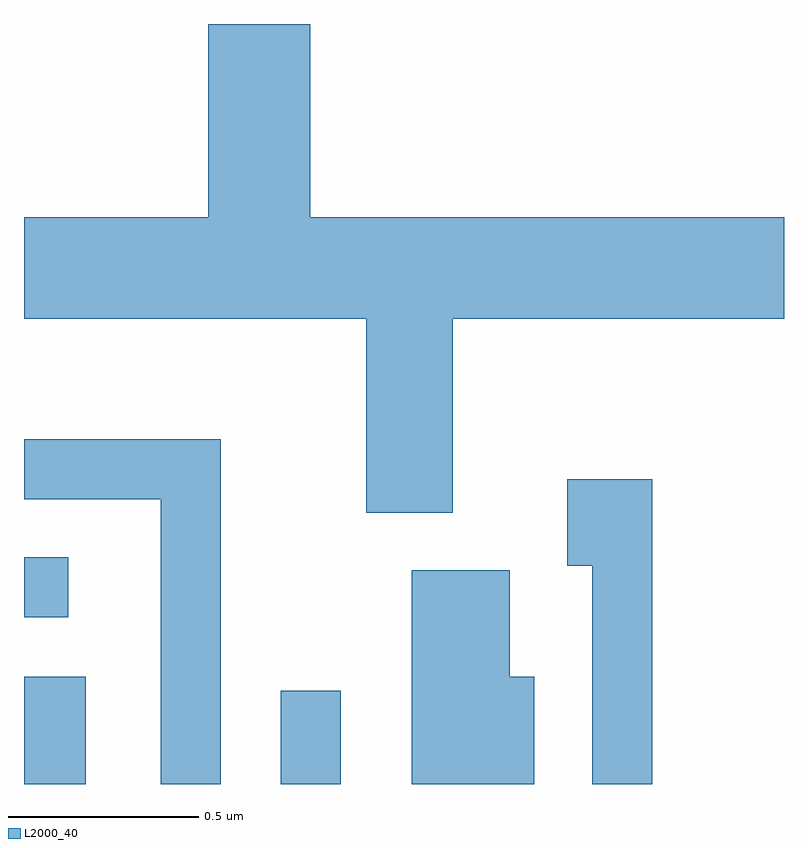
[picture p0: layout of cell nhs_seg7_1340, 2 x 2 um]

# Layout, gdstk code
import gdstk
lib = gdstk.Library(unit=1e-6, precision=1e-09)
def R(c, l, rs):  # rectangles x0, y0, x1, y1
    for r in rs: c.add(gdstk.rectangle(r[:2], r[2:], *l))
def P(c, l, *ps):  # polygons
    for p in ps: c.add(gdstk.Polygon(p, *l))
L2000_40 = (2000, 40)

nhs_seg7_1340 = lib.new_cell('nhs_seg7_1340')
R(nhs_seg7_1340, L2000_40, [(194.611,1775.252,194.774,1775.534), (195.286,1775.252,195.444,1775.498), (194.611,1775.691,194.728,1775.849)])
P(nhs_seg7_1340, L2000_40, [(195.739,1776.476),(196.611,1776.476),(196.611,1776.744),(195.364,1776.744),(195.364,1777.252),(195.096,1777.252),(195.096,1776.744),(194.611,1776.744),(194.611,1776.476),(195.511,1776.476),(195.511,1775.966),(195.739,1775.966)],
  [(195.129,1776.159),(194.611,1776.159),(194.611,1776.001),(194.971,1776.001),(194.971,1775.252),(195.129,1775.252)],
  [(196.264,1776.054),(196.041,1776.054),(196.041,1775.826),(196.106,1775.826),(196.106,1775.252),(196.264,1775.252)],
  [(195.954,1775.534),(195.889,1775.534),(195.889,1775.814),(195.631,1775.814),(195.631,1775.252),(195.954,1775.252)])

lib.write_gds('nhs_seg7_1340.gds')
